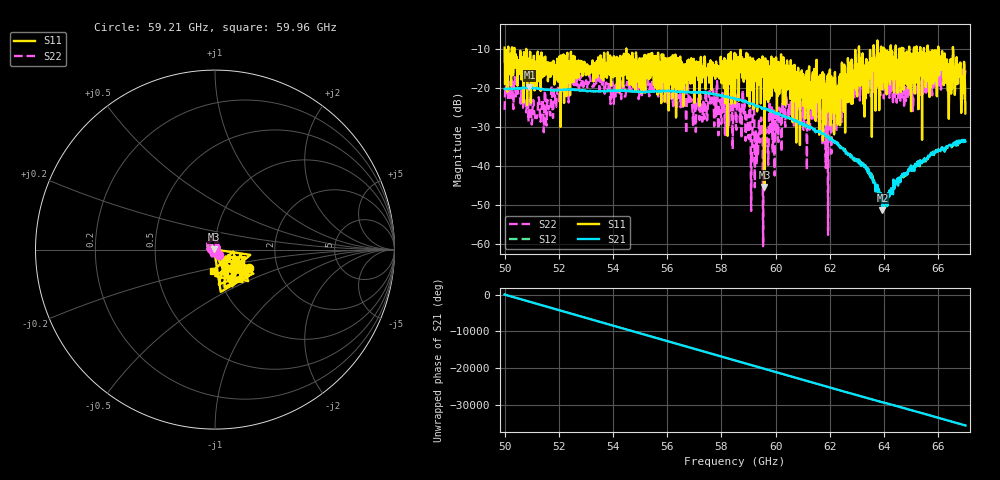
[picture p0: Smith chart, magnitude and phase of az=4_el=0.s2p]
!Created with skrf (http://scikit-rf.org).
# GHz S RI R 50.0
!freq ReS11 ImS11 ReS21 ImS21 ReS12 ImS12 ReS22 ImS22
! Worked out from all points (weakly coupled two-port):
!   1001 points, 50 GHz to 67 GHz, reference 50 ohm
!   highest |S21| = -19.84 dB at 50.92 GHz (marker M1); lowest = -51.2 dB at 63.94 GHz (marker M2)
!   lowest |S11| = -45.3 dB at 59.59 GHz (marker M3), VSWR 1.01, Z = 49.5 + j0.12 ohm
!   |S11| at or under -10 dB: 50.8 GHz to 54.49 GHz (3.688 GHz wide, 7.01 % of centre); 54.49 GHz to 63.07 GHz (8.582 GHz wide, 14.6 % of centre); 63.08 GHz to 63.61 GHz (537.1 MHz wide, 0.848 % of centre) (the widest 3 of 24)
!   |S22| runs from -60.5 to -14.1 dB; largest |S21 - S12| = 0.0024
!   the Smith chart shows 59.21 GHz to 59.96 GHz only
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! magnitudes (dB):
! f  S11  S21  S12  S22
! 50 GHz  -9.7  -20.2  -20.3  -25.6
! 50.42 GHz  -13.3  -20.1  -20.1  -22.5
! 50.92 GHz  -18.0  -19.8  -19.8  -23.9
! 52.84 GHz  -14.4  -20.6  -20.6  -19.4
! 55.68 GHz  -13.2  -20.8  -20.8  -22.5
! 57 GHz  -23.8  -21.0  -21.0  -21.4
! 57.62 GHz  -15.9  -21.5  -21.5  -22.4
! 58.5 GHz  -23.9  -22.6  -22.6  -24.1
! 59.59 GHz  -45.3  -25.3  -25.2  -29.8
! 59.84 GHz  -12.0  -25.8  -25.8  -24.9
! 60.03 GHz  -14.5  -26.6  -26.6  -31.8
! 60.32 GHz  -19.9  -27.3  -27.3  -23.1
! 61.34 GHz  -24.9  -30.2  -30.2  -25.2
! 62 GHz  -15.2  -32.7  -33.1  -24.6
! 62.04 GHz  -17.6  -33.0  -33.0  -30.9
! 62.6 GHz  -19.7  -36.3  -36.4  -19.2
! 63.94 GHz  -18.3  -51.2  -50.7  -15.3
! 64.18 GHz  -17.8  -47.9  -47.1  -18.6
! 66.08 GHz  -15.4  -35.9  -36.2  -15.5
! 66.42 GHz  -15.8  -34.6  -34.8  -16.3
! 66.75 GHz  -17.1  -33.5  -33.7  -17.9
! 67 GHz  -26.5  -33.7  -33.3  -15.4
